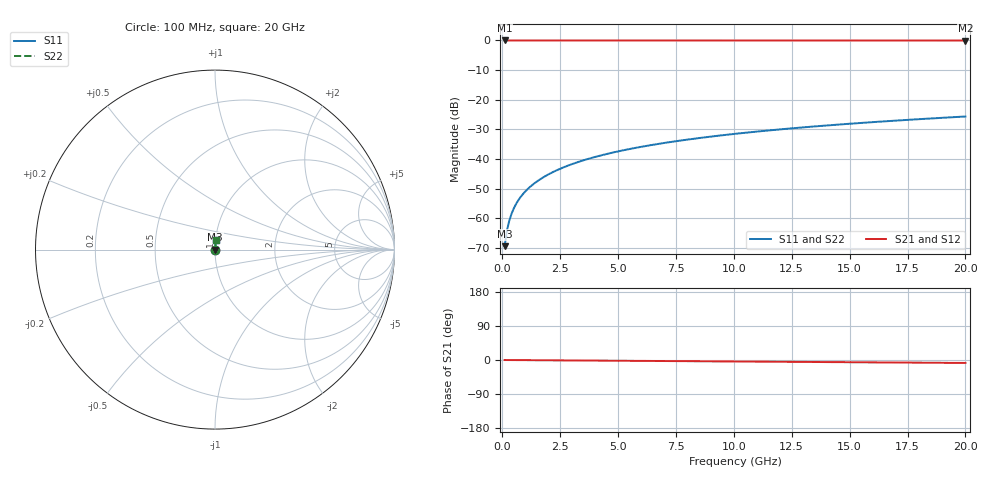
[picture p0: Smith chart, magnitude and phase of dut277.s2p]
! Touchstone file exported from HFSS 2026.1.0
!  File:  C:/ffzhzh/LocalFiles/Ansys_Project_Files/temp_train_TSV_277_1782993441_42984.aedt
!  Generated:  07:59:01 PM Jul  2, 2026
!  Design:  TSV
!  Project:  temp_train_TSV_277_1782993441_42984
! Variables:
!  h_bsmrdl = 2um
!  h_ox = 20um
!  h_rdl = 5um
!  h_sub = 66.46um
!  h_tmrdl = 5um
!  h_tsv = 66.46um
!  h_via = 3um
!  l_bsmrdl = 300um
!  l_sub = 415.6um
!  l_tmrdl = 200um
!  m_sub = 200um
!  pitch = 52.77um
!  r_tsv = 7.8um
!  s_tmrdl = 10um
!  w_bsmrdl = 18um
!  w_sub = 500um
!  w_tmrdl = 12um
!  x_tsv_center1 = 206um
!  x_tsv_center2 = 524um
!  x_tsv_center3 = 736um
!  x_tsv_center4 = 1054um
!  x_tsv_center5 = 1266um
!  x_tsv_center6 = 1584um
# GHz S MA R 50.000000
! Terminal data exported
! Port[1] = TSV1_1_T1
! Port[2] = TSV1_1_T2
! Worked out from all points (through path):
!   200 points, 100 MHz to 20 GHz, reference 50 ohm
!   highest |S21| = 0.00 dB at 100 MHz (marker M1); lowest = 0.0 dB at 20 GHz (marker M2)
!   group delay of S21, straight-line fit = 1.08 ps
!   lowest |S11| = -69.4 dB at 100 MHz (marker M3), VSWR 1.00, Z = 50 + j0.0298 ohm
!   |S11| at or under -10 dB: start of sweep to end of sweep
!   |S22| runs from -69.4 to -25.7 dB; largest |S21 - S12| = 2.4e-15
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0.1  0.0003377 61.8  0.9998 -0.0  0.9998 -0.0  0.0003377 61.8
! Gamma 0 0 0 0
! Port Impedance 50 0 50 0
0.2  0.000617 74.1  0.9998 -0.1  0.9998 -0.1  0.000617 74.1
0.3  0.0009048 78.3  0.9998 -0.1  0.9998 -0.1  0.0009048 78.3
0.4  0.001192 80.3  0.9998 -0.2  0.9998 -0.2  0.001192 80.3
0.5  0.001475 81.4  0.9998 -0.2  0.9998 -0.2  0.001475 81.4
0.6  0.001756 82.0  0.9998 -0.2  0.9998 -0.2  0.001756 82.0
0.7  0.002032 82.5  0.9997 -0.3  0.9997 -0.3  0.002032 82.5
0.8  0.002306 82.9  0.9997 -0.3  0.9997 -0.3  0.002306 82.9
1  0.002848 83.4  0.9997 -0.4  0.9997 -0.4  0.002848 83.4
1.4  0.003918 84.2  0.9996 -0.6  0.9996 -0.6  0.003918 84.2
1.7  0.004716 84.6  0.9996 -0.7  0.9996 -0.7  0.004716 84.6
2  0.005513 84.9  0.9996 -0.8  0.9996 -0.8  0.005513 84.9
2.7  0.007368 85.3  0.9995 -1.1  0.9995 -1.1  0.007368 85.3
3.5  0.009484 85.4  0.9994 -1.4  0.9994 -1.4  0.009484 85.4
4.2  0.01133 85.4  0.9994 -1.7  0.9994 -1.7  0.01133 85.4
5  0.01343 85.3  0.9993 -2.0  0.9993 -2.0  0.01343 85.3
6.8  0.01813 85.0  0.9991 -2.7  0.9991 -2.7  0.01813 85.0
8.3  0.02203 84.6  0.9989 -3.3  0.9989 -3.3  0.02203 84.6
10.1  0.02669 84.1  0.9987 -4.0  0.9987 -4.0  0.02669 84.1
13.4  0.0352 83.1  0.9983 -5.2  0.9983 -5.2  0.0352 83.1
16.7  0.04366 82.0  0.9979 -6.5  0.9979 -6.5  0.04366 82.0
20  0.05207 80.8  0.9974 -7.8  0.9974 -7.8  0.05207 80.8
